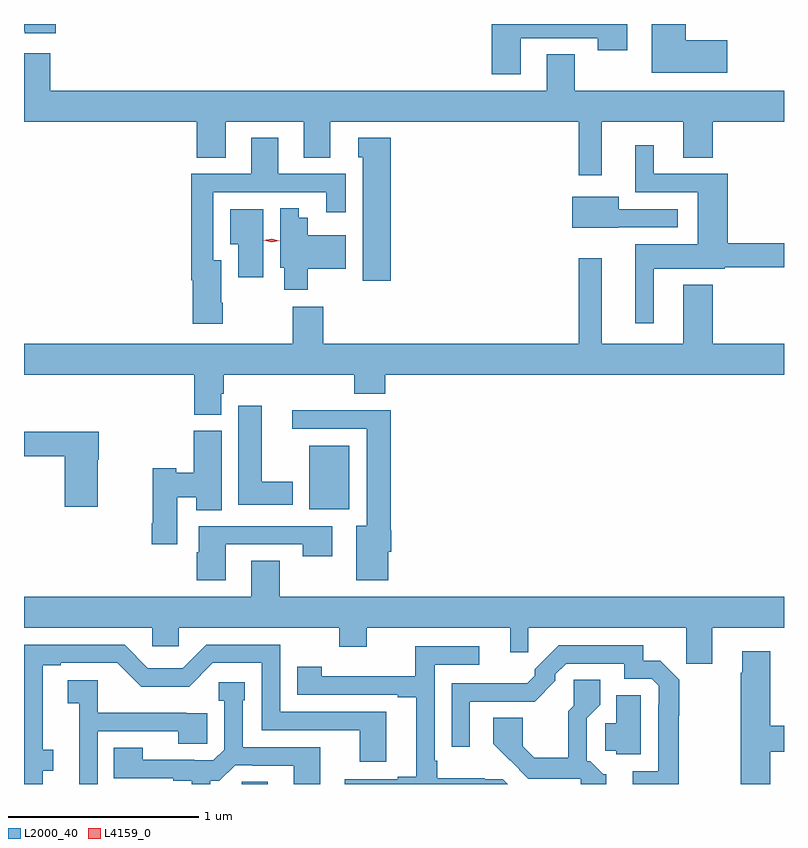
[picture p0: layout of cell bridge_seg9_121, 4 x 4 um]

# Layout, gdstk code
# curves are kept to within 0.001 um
import gdstk
lib = gdstk.Library(unit=1e-6, precision=1e-09)
def R(c, l, rs):  # rectangles x0, y0, x1, y1
    for r in rs: c.add(gdstk.rectangle(r[:2], r[2:], *l))
def P(c, l, *ps):  # polygons
    for p in ps: c.add(gdstk.Polygon(p, *l))
L2000_40 = (2000, 40)
L4159_0 = (4159, 0)

bridge_seg9_121 = lib.new_cell('bridge_seg9_121')
R(bridge_seg9_121, L2000_40, [(540.115,1226.234,540.253,1226.246), (540.47,1227.68,540.682,1228.015)])
P(bridge_seg9_121, L2000_40, [(541.585,1230.159),(541.99,1230.159),(541.99,1230.096),(542.146,1230.096),(542.146,1230.234),(541.433,1230.234),(541.433,1229.97),(541.585,1229.97)],
  [(542.671,1230.149),(542.453,1230.149),(542.453,1230.234),(542.273,1230.234),(542.273,1229.978),(542.671,1229.978)],
  [(539.137,1230.234),(538.97,1230.234),(538.97,1230.197),(538.974,1230.197),(538.974,1230.185),(539.137,1230.185)],
  [(542.011,1229.72),(542.441,1229.72),(542.441,1229.53),(542.594,1229.53),(542.594,1229.72),(542.97,1229.72),(542.97,1229.884),(541.869,1229.884),(541.869,1230.074),(541.721,1230.074),(541.721,1229.884),(539.108,1229.884),(539.108,1230.079),(538.97,1230.079),(538.97,1229.72),(539.879,1229.72),(539.879,1229.53),(540.031,1229.53),(540.031,1229.72),(540.443,1229.72),(540.443,1229.53),(540.583,1229.53),(540.583,1229.72),(541.89,1229.72),(541.89,1229.439),(542.011,1229.439)],
  [(540.015,1228.768),(540.007,1228.768),(540.007,1228.99),(539.967,1228.99),(539.967,1229.349),(540.56,1229.349),(540.56,1229.244),(540.664,1229.244),(540.664,1229.445),(540.307,1229.445),(540.307,1229.635),(540.167,1229.635),(540.167,1229.445),(539.851,1229.445),(539.851,1228.886),(539.858,1228.886),(539.858,1228.656),(540.015,1228.656)],
  [(540.899,1229.635),(540.728,1229.635),(540.728,1229.532),(540.752,1229.532),(540.752,1228.884),(540.899,1228.884)],
  [(542.284,1228.946),(542.658,1228.946),(542.658,1228.953),(542.97,1228.953),(542.97,1229.081),(542.675,1229.081),(542.675,1229.445),(542.284,1229.445),(542.284,1229.596),(542.186,1229.596),(542.186,1229.349),(542.516,1229.349),(542.516,1229.074),(542.186,1229.074),(542.186,1228.659),(542.284,1228.659)],
  [(542.097,1229.163),(542.41,1229.163),(542.41,1229.259),(542.101,1229.259),(542.101,1229.326),(541.856,1229.326),(541.856,1229.162),(542.097,1229.162)],
  [(540.463,1228.946),(540.664,1228.946),(540.664,1229.122),(540.463,1229.122),(540.463,1229.215),(540.415,1229.215),(540.415,1229.264),(540.318,1229.264),(540.318,1228.95),(540.341,1228.95),(540.341,1228.835),(540.463,1228.835)],
  [(540.229,1229.26),(540.056,1229.26),(540.056,1229.075),(540.098,1229.075),(540.098,1228.902),(540.229,1228.902)],
  [(540.007,1228.287),(540.02,1228.287),(540.02,1228.388),(540.707,1228.388),(540.707,1228.289),(540.872,1228.289),(540.872,1228.388),(542.97,1228.388),(542.97,1228.552),(542.594,1228.552),(542.594,1228.861),(542.441,1228.861),(542.441,1228.552),(542.011,1228.552),(542.011,1229.002),(541.89,1229.002),(541.89,1228.552),(540.545,1228.552),(540.545,1228.747),(540.385,1228.747),(540.385,1228.552),(538.97,1228.552),(538.97,1228.388),(539.867,1228.388),(539.867,1228.177),(540.007,1228.177)],
  [(540.385,1227.826),(540.22,1227.826),(540.22,1228.225),(540.098,1228.225),(540.098,1227.704),(540.385,1227.704)],
  [(540.886,1227.456),(540.904,1227.456),(540.904,1227.57),(540.899,1227.57),(540.899,1228.202),(540.381,1228.202),(540.381,1228.104),(540.773,1228.104),(540.773,1227.592),(540.719,1227.592),(540.719,1227.306),(540.886,1227.306)],
  [(539.776,1227.743),(539.876,1227.743),(539.876,1227.676),(540.01,1227.676),(540.01,1228.092),(539.864,1228.092),(539.864,1227.873),(539.772,1227.873),(539.772,1227.896),(539.647,1227.896),(539.647,1227.607),(539.642,1227.607),(539.642,1227.495),(539.776,1227.495)],
  [(539.358,1227.941),(539.363,1227.941),(539.363,1228.087),(538.97,1228.087),(538.97,1227.958),(539.185,1227.958),(539.185,1227.693),(539.358,1227.693)],
  [(540.031,1227.495),(540.436,1227.495),(540.436,1227.432),(540.592,1227.432),(540.592,1227.591),(539.891,1227.591),(539.891,1227.453),(539.879,1227.453),(539.879,1227.306),(540.031,1227.306)],
  [(542.593,1227.056),(542.97,1227.056),(542.97,1227.22),(540.315,1227.22),(540.315,1227.41),(540.167,1227.41),(540.167,1227.22),(538.97,1227.22),(538.97,1227.056),(539.646,1227.056),(539.646,1226.958),(539.784,1226.958),(539.784,1227.056),(540.628,1227.056),(540.628,1226.957),(540.775,1226.957),(540.775,1227.056),(541.529,1227.056),(541.529,1226.927),(541.625,1226.927),(541.625,1227.056),(542.455,1227.056),(542.455,1226.868),(542.593,1226.868)],
  [(539.069,1226.303),(539.125,1226.303),(539.125,1226.413),(539.068,1226.413),(539.068,1226.859),(539.164,1226.859),(539.164,1226.871),(539.462,1226.871),(539.586,1226.747),(539.84,1226.747),(539.964,1226.871),(540.222,1226.871),(540.222,1226.517),(540.737,1226.517),(540.737,1226.352),(540.877,1226.352),(540.877,1226.613),(540.318,1226.613),(540.318,1226.967),(539.928,1226.967),(539.805,1226.844),(539.622,1226.844),(539.499,1226.967),(538.971,1226.967),(538.97,1226.234),(539.069,1226.234)],
  [(542.416,1226.593),(542.418,1226.593),(542.418,1226.784),(542.318,1226.884),(542.229,1226.884),(542.229,1226.964),(541.784,1226.964),(541.659,1226.839),(541.659,1226.805),(541.618,1226.764),(541.221,1226.763),(541.221,1226.43),(541.317,1226.43),(541.317,1226.667),(541.657,1226.667),(541.767,1226.777),(541.767,1226.811),(541.824,1226.868),(542.13,1226.868),(542.13,1226.787),(542.274,1226.787),(542.31,1226.751),(542.31,1226.651),(542.307,1226.651),(542.307,1226.301),(542.175,1226.301),(542.175,1226.234),(542.416,1226.234)],
  [(541.491,1226.259),(541.394,1226.259),(541.394,1226.263),(541.144,1226.263),(541.144,1226.356),(541.131,1226.356),(541.131,1226.862),(541.366,1226.862),(541.366,1226.958),(541.03,1226.958),(541.03,1226.8),(540.536,1226.8),(540.536,1226.851),(540.408,1226.851),(540.408,1226.703),(540.938,1226.703),(540.938,1226.691),(541.034,1226.691),(541.034,1226.272),(540.938,1226.272),(540.938,1226.259),(540.657,1226.259),(540.657,1226.234),(541.516,1226.234)],
  [(542.897,1226.404),(542.97,1226.404),(542.97,1226.54),(542.897,1226.54),(542.897,1226.932),(542.75,1226.932),(542.75,1226.819),(542.743,1226.819),(542.743,1226.234),(542.897,1226.234)],
  [(542.035,1226.286),(542.019,1226.286),(541.95,1226.355),(541.932,1226.355),(541.932,1226.58),(542.002,1226.65),(542.002,1226.782),(541.863,1226.782),(541.863,1226.647),(541.834,1226.618),(541.834,1226.373),(541.655,1226.373),(541.594,1226.434),(541.594,1226.582),(541.44,1226.582),(541.44,1226.446),(541.625,1226.262),(541.899,1226.262),(541.899,1226.234),(542.035,1226.234)],
  [(539.358,1226.511),(539.782,1226.511),(539.782,1226.446),(539.935,1226.446),(539.935,1226.607),(539.825,1226.607),(539.825,1226.608),(539.358,1226.608),(539.358,1226.779),(539.199,1226.779),(539.199,1226.658),(539.261,1226.658),(539.261,1226.234),(539.358,1226.234)],
  [(539.95,1226.25),(539.997,1226.25),(540.081,1226.334),(540.175,1226.334),(540.175,1226.331),(540.389,1226.331),(540.389,1226.234),(540.529,1226.234),(540.529,1226.427),(540.12,1226.427),(540.12,1226.676),(540.133,1226.676),(540.133,1226.769),(539.994,1226.769),(539.994,1226.671),(540.024,1226.671),(540.024,1226.415),(539.967,1226.358),(539.867,1226.358),(539.867,1226.361),(539.595,1226.361),(539.595,1226.426),(539.443,1226.426),(539.443,1226.265),(539.756,1226.265),(539.756,1226.25),(539.852,1226.25),(539.852,1226.234),(539.95,1226.234)],
  [(542.217,1226.702),(542.087,1226.702),(542.087,1226.555),(542.028,1226.555),(542.028,1226.409),(542.088,1226.409),(542.088,1226.39),(542.217,1226.39)])
P(bridge_seg9_121, L4159_0, [(540.273,1229.085),(540.232,1229.095),(540.232,1229.095),(540.232,1229.096),(540.273,1229.105),(540.314,1229.094),(540.314,1229.094),(540.314,1229.094)])

lib.write_gds('bridge_seg9_121.gds')
